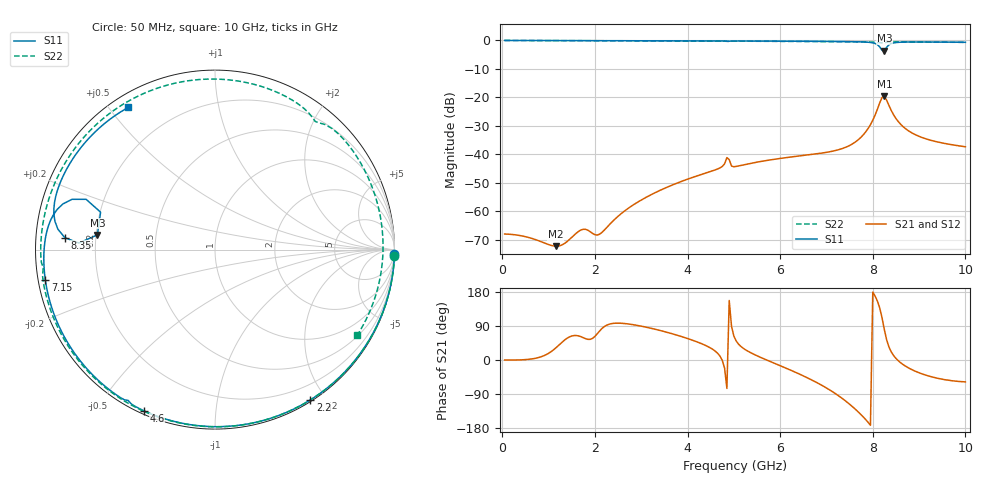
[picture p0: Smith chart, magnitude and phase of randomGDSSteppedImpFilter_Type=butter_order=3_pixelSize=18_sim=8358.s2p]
! freq	dB(S11)	phase(S11)	dB(S12)	phase(S12)
!  dB(S21)	phase(S21)	dB(S22)	phase(S22)
!S-par simulation data
#  GHz  S  DB  R 50
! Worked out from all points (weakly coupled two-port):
!   200 points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, 50 MHz to 10 GHz, reference 50 ohm
!   highest |S21| = -19.68 dB at 8.25 GHz (marker M1); lowest = -72.2 dB at 1.15 GHz (marker M2)
!   lowest |S11| = -3.6 dB at 8.25 GHz (marker M3), VSWR 4.89, Z = 10.3 + j2.99 ohm
!   |S11| at or under -10 dB: nowhere
!   |S22| runs from -0.9 to 0.0 dB; largest |S21 - S12| = 0
!   S11 on the Smith chart (normalised r, x): 50 MHz: 0, -84; 2.2 GHz: 0.02, -1.82; 4.6 GHz: 0.01, -0.65; 7.15 GHz: 0.02, -0.09; 8.35 GHz: 0.09, +0.04; 10 GHz: 0.05, +0.56
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0.05  -0.00 -1.4  -67.99 0.0  -67.99 0.0  -0.00 -2.0
1.15  -0.04 -30.7  -72.25 31.3  -72.25 31.3  -0.05 -44.7
1.75  -0.06 -46.3  -66.31 58.8  -66.31 58.8  -0.08 -67.0
2.05  -0.07 -53.9  -68.34 69.3  -68.34 69.3  -0.10 -77.8
2.2  -0.07 -57.6  -66.66 88.0  -66.66 88.0  -0.10 -83.1
2.7  -0.09 -69.9  -59.17 95.4  -59.17 95.4  -0.12 -100.6
3.4  -0.11 -86.6  -52.69 78.2  -52.69 78.2  -0.15 -124.3
4.6  -0.16 -113.8  -45.45 23.3  -45.45 23.3  -0.22 -164.3
4.85  -0.25 -119.7  -41.14 -75.0  -41.14 -75.0  -0.31 -173.2
5.05  -0.19 -123.4  -44.25 50.3  -44.25 50.3  -0.25 -179.4
5.85  -0.23 -140.9  -41.79 -7.3  -41.79 -7.3  -0.31 151.9
6.7  -0.30 -159.5  -39.99 -53.8  -39.99 -53.8  -0.38 118.5
7.15  -0.35 -169.7  -38.83 -85.2  -38.83 -85.2  -0.42 99.4
7.75  -0.49 174.9  -33.92 -144.7  -33.92 -144.7  -0.50 72.2
7.95  -0.71 168.0  -29.56 -172.3  -29.56 -172.3  -0.56 62.7
8.15  -2.26 158.7  -21.90 137.4  -21.90 137.4  -0.78 53.5
8.25  -3.60 172.9  -19.68 80.1  -19.68 80.1  -0.79 50.7
8.35  -1.52 175.4  -22.85 34.2  -22.85 34.2  -0.55 46.0
8.55  -0.66 165.6  -28.48 -1.9  -28.48 -1.9  -0.49 35.7
8.85  -0.54 155.6  -32.51 -25.8  -32.51 -25.8  -0.52 21.1
9.4  -0.56 139.8  -35.66 -48.2  -35.66 -48.2  -0.59 -4.7
10  -0.65 121.4  -37.34 -57.7  -37.34 -57.7  -0.68 -31.1
